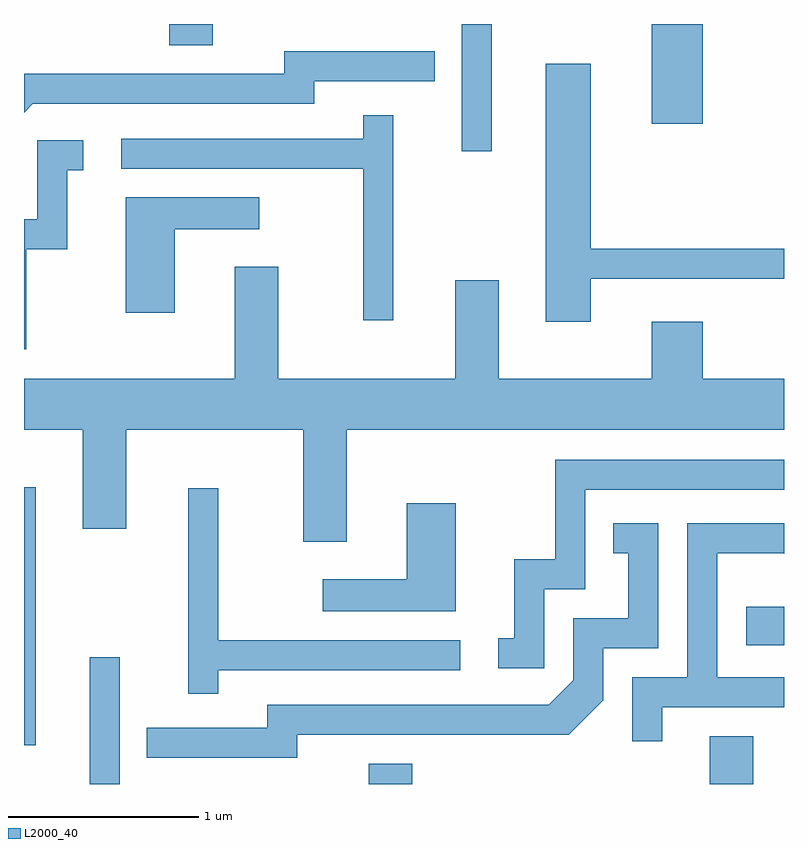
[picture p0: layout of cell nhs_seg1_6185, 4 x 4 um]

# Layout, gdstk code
import gdstk
lib = gdstk.Library(unit=1e-6, precision=1e-09)
def R(c, l, rs):  # rectangles x0, y0, x1, y1
    for r in rs: c.add(gdstk.rectangle(r[:2], r[2:], *l))
def P(c, l, *ps):  # polygons
    for p in ps: c.add(gdstk.Polygon(p, *l))
L2000_40 = (2000, 40)

nhs_seg1_6185 = lib.new_cell('nhs_seg1_6185')
R(nhs_seg1_6185, L2000_40, [(371.956,897.712,372.114,898.378), (373.426,897.712,373.654,897.819), (375.221,897.712,375.449,897.964), (371.611,897.916,371.674,899.274), (375.411,898.441,375.611,898.644), (373.916,901.043,374.074,901.712), (374.916,901.186,375.184,901.712), (372.376,901.601,372.604,901.712)])
P(nhs_seg1_6185, L2000_40, [(371.657,901.291),(373.139,901.291),(373.139,901.411),(373.773,901.411),(373.773,901.569),(372.981,901.569),(372.981,901.449),(371.611,901.449),(371.611,901.245)],
  [(374.594,900.371),(375.611,900.371),(375.611,900.529),(374.594,900.529),(374.594,901.504),(374.356,901.504),(374.356,900.146),(374.594,900.146)],
  [(373.554,901.233),(373.396,901.233),(373.396,901.109),(372.123,901.109),(372.123,900.951),(373.396,900.951),(373.396,900.153),(373.554,900.153)],
  [(371.624,900.526),(371.839,900.526),(371.839,900.941),(371.923,900.941),(371.923,901.099),(371.681,901.099),(371.681,900.684),(371.611,900.684),(371.611,900.001),(371.624,900.001)],
  [(372.404,900.631),(372.848,900.631),(372.848,900.799),(372.146,900.799),(372.146,900.191),(372.404,900.191)],
  [(373.309,899.576),(375.611,899.576),(375.611,899.844),(375.184,899.844),(375.184,900.144),(374.916,900.144),(374.916,899.844),(374.109,899.844),(374.109,900.364),(373.881,900.364),(373.881,899.844),(372.949,899.844),(372.949,900.434),(372.721,900.434),(372.721,899.844),(371.611,899.844),(371.611,899.576),(371.921,899.576),(371.921,899.056),(372.149,899.056),(372.149,899.576),(373.081,899.576),(373.081,898.986),(373.309,898.986)],
  [(374.349,898.736),(374.564,898.736),(374.564,899.261),(375.611,899.261),(375.611,899.419),(374.406,899.419),(374.406,898.894),(374.191,898.894),(374.191,898.479),(374.108,898.479),(374.108,898.321),(374.349,898.321)],
  [(372.634,898.311),(373.908,898.311),(373.908,898.469),(372.634,898.469),(372.634,899.268),(372.476,899.268),(372.476,898.188),(372.634,898.188)],
  [(373.884,899.189),(373.626,899.189),(373.626,898.789),(373.183,898.789),(373.183,898.621),(373.884,898.621)],
  [(374.969,898.116),(375.611,898.116),(375.611,898.274),(375.259,898.274),(375.259,898.926),(375.609,898.926),(375.611,898.924),(375.611,899.084),(375.101,899.084),(375.101,898.274),(374.811,898.274),(374.811,897.938),(374.969,897.938)],
  [(373.049,897.971),(374.477,897.971),(374.659,898.154),(374.659,898.426),(374.949,898.426),(374.949,899.084),(374.713,899.084),(374.713,898.926),(374.791,898.926),(374.791,898.584),(374.501,898.584),(374.501,898.257),(374.374,898.129),(372.891,898.129),(372.891,898.009),(372.258,898.009),(372.258,897.851),(373.049,897.851)])

lib.write_gds('nhs_seg1_6185.gds')
